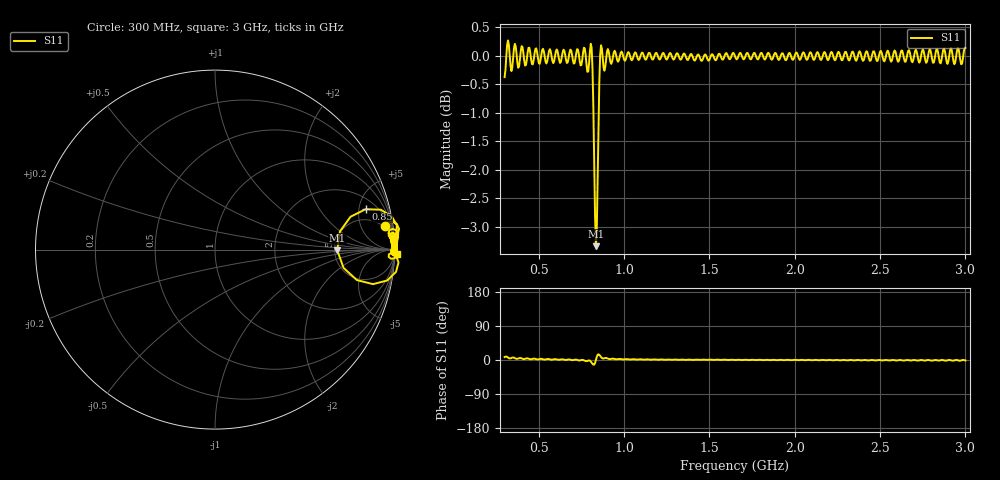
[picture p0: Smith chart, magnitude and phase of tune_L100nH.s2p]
! tampered alone, coil 100 nH
! simulated by sim/fixtures_fdtd.py (S12 = S21, S22 not computed)
# HZ S RI R 50
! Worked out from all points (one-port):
!   541 points, 300 MHz to 3 GHz, reference 50 ohm
!   lowest |S11| = -3.3 dB at 835 MHz (marker M1), VSWR 5.27, Z = 263 - j3.29 ohm
!   |S11| at or under -10 dB: nowhere
!   S11 on the Smith chart (normalised r, x): 300 MHz: 4, +13; 850 MHz: 3.20, +5.89; 3 GHz: -44, -59
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3e8  0.9494 0.1295  0 0  0 0  0 0
3.2e8  1.025 0.1149  0 0  0 0  0 0
3.4e8  0.9658 0.0899  0 0  0 0  0 0
3.6e8  1.021 0.0889  0 0  0 0  0 0
4.15e8  0.9898 0.0424  0 0  0 0  0 0
7.5e8  0.9821 -0.000597  0 0  0 0  0 0
7.95e8  0.9859 -0.0197  0 0  0 0  0 0
8.05e8  1.022 -0.0719  0 0  0 0  0 0
8.2e8  0.8803 -0.1925  0 0  0 0  0 0
8.25e8  0.7906 -0.1698  0 0  0 0  0 0
8.35e8  0.681 -0.00335  0 0  0 0  0 0
8.4e8  0.6957 0.1008  0 0  0 0  0 0
8.5e8  0.8396 0.225  0 0  0 0  0 0
8.6e8  0.9847 0.1859  0 0  0 0  0 0
8.7e8  1.011 0.0934  0 0  0 0  0 0
9.55e8  0.9982 0.0323  0 0  0 0  0 0
1.2e9  0.9976 0.0111  0 0  0 0  0 0
1.65e9  0.9994 -0.00086  0 0  0 0  0 0
2.1e9  1.002 -0.0105  0 0  0 0  0 0
2.55e9  1.007 -0.018  0 0  0 0  0 0
2.975e9  0.9833 -0.0203  0 0  0 0  0 0
3e9  1.016 -0.0223  0 0  0 0  0 0
